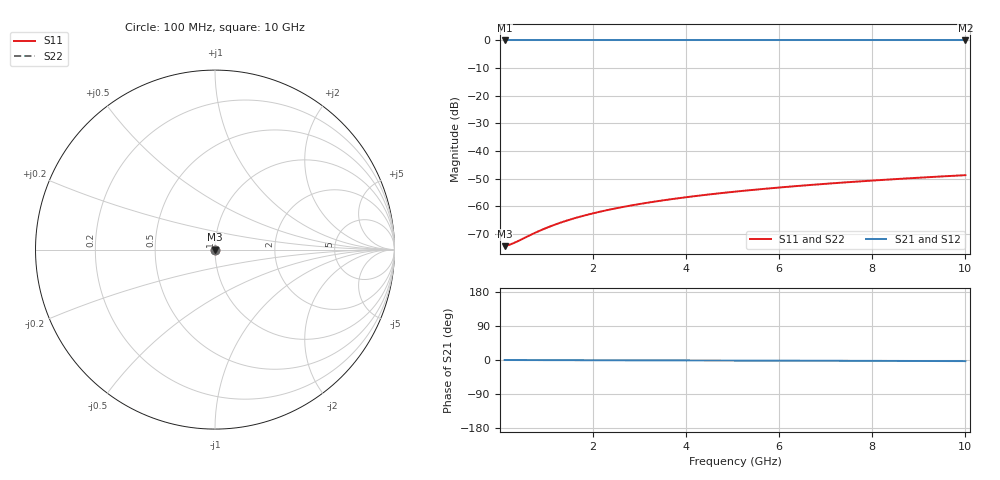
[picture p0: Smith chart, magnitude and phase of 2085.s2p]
# Hz S RI R 50.00
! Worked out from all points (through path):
!   100 points, 100 MHz to 10 GHz, reference 50 ohm
!   highest |S21| = 0.00 dB at 100 MHz (marker M1); lowest = 0.0 dB at 10 GHz (marker M2)
!   lowest |S11| = -74.5 dB at 100 MHz (marker M3), VSWR 1.00, Z = 50 - j0.00359 ohm
!   |S11| at or under -10 dB: start of sweep to end of sweep
!   |S22| runs from -74.5 to -48.8 dB; largest |S21 - S12| = 0
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1e8  0.000186 -3.59e-05  0.9998 -0.000506  0.9998 -0.000506  0.000186 -3.59e-05
2e8  0.000187 -7.18e-05  0.9998 -0.00101  0.9998 -0.00101  0.000187 -7.18e-05
3e8  0.000187 -0.000108  0.9998 -0.00152  0.9998 -0.00152  0.000187 -0.000108
8e8  0.000188 -0.000287  0.9998 -0.00405  0.9998 -0.00405  0.000188 -0.000287
9e8  0.000188 -0.000323  0.9998 -0.00455  0.9998 -0.00455  0.000188 -0.000323
1.1e9  0.000187 -0.000395  0.9998 -0.00556  0.9998 -0.00556  0.000187 -0.000395
1.4e9  0.000186 -0.000503  0.9998 -0.00708  0.9998 -0.00708  0.000186 -0.000503
1.6e9  0.000185 -0.000575  0.9998 -0.00809  0.9998 -0.00809  0.000185 -0.000575
1.8e9  0.000184 -0.000648  0.9998 -0.00911  0.9998 -0.00911  0.000184 -0.000648
2.1e9  0.000182 -0.000756  0.9997 -0.0106  0.9997 -0.0106  0.000182 -0.000756
2.5e9  0.000179 -0.0009  0.9997 -0.0126  0.9997 -0.0126  0.000179 -0.0009
2.9e9  0.000175 -0.00105  0.9997 -0.0147  0.9997 -0.0147  0.000175 -0.00105
3.4e9  0.000169 -0.00123  0.9996 -0.0172  0.9996 -0.0172  0.000169 -0.00123
3.8e9  0.000164 -0.00137  0.9996 -0.0192  0.9996 -0.0192  0.000164 -0.00137
4.2e9  0.000158 -0.00152  0.9996 -0.0213  0.9996 -0.0213  0.000158 -0.00152
4.6e9  0.000151 -0.00166  0.9995 -0.0233  0.9995 -0.0233  0.000151 -0.00166
5.1e9  0.000142 -0.00185  0.9994 -0.0258  0.9994 -0.0258  0.000142 -0.00185
5.9e9  0.000126 -0.00214  0.9993 -0.0299  0.9993 -0.0299  0.000126 -0.00214
6.7e9  0.000107 -0.00243  0.9992 -0.034  0.9992 -0.034  0.000107 -0.00243
7.5e9  8.58e-05 -0.00272  0.999 -0.038  0.999 -0.038  8.58e-05 -0.00272
8.4e9  5.9e-05 -0.00306  0.9989 -0.0426  0.9989 -0.0426  5.9e-05 -0.00306
1e10  3.79e-06 -0.00364  0.9985 -0.0508  0.9985 -0.0508  3.79e-06 -0.00364
